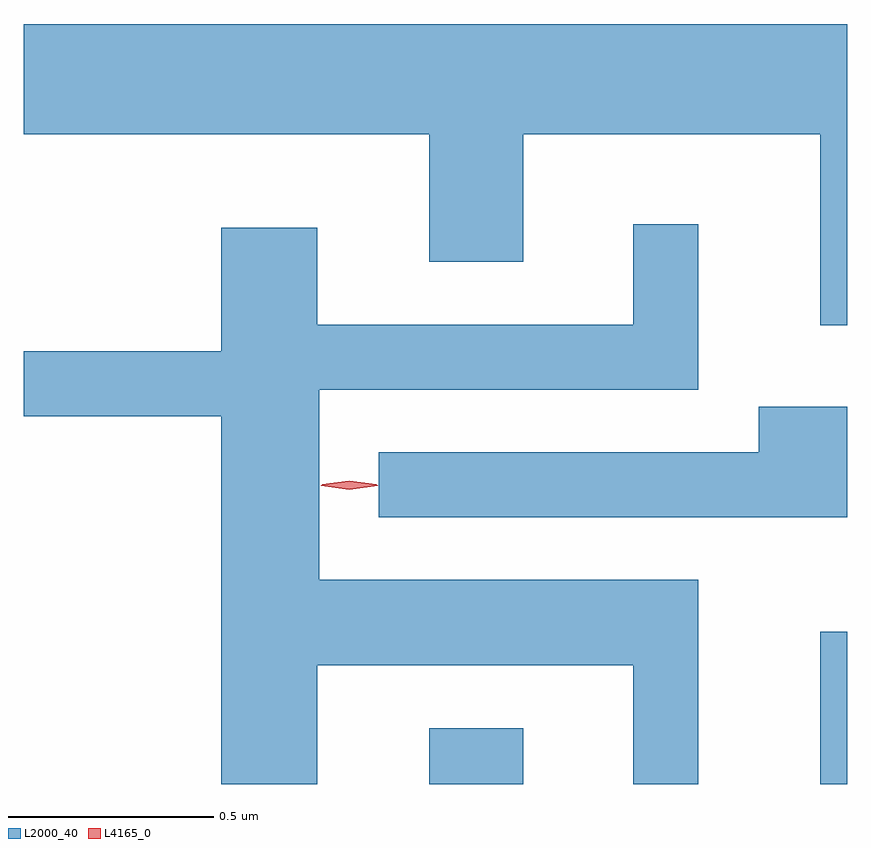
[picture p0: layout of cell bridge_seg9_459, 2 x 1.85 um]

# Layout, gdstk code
import gdstk
lib = gdstk.Library(unit=1e-6, precision=1e-09)
def R(c, l, rs):  # rectangles x0, y0, x1, y1
    for r in rs: c.add(gdstk.rectangle(r[:2], r[2:], *l))
def P(c, l, *ps):  # polygons
    for p in ps: c.add(gdstk.Polygon(p, *l))
L2000_40 = (2000, 40)
L4165_0 = (4165, 0)

bridge_seg9_459 = lib.new_cell('bridge_seg9_459')
R(bridge_seg9_459, L2000_40, [(350.111,2056.838,350.339,2056.974), (351.061,2056.838,351.126,2057.208)])
P(bridge_seg9_459, L2000_40, [(351.126,2058.684),(349.126,2058.684),(349.126,2058.416),(350.111,2058.416),(350.111,2058.106),(350.339,2058.106),(350.339,2058.416),(351.061,2058.416),(351.061,2057.952),(351.126,2057.952)],
  [(349.839,2057.126),(350.606,2057.126),(350.606,2056.838),(350.764,2056.838),(350.764,2057.334),(349.844,2057.334),(349.844,2057.796),(350.764,2057.796),(350.764,2058.198),(350.606,2058.198),(350.606,2057.954),(349.839,2057.954),(349.839,2058.189),(349.606,2058.189),(349.606,2057.889),(349.126,2057.889),(349.126,2057.731),(349.606,2057.731),(349.606,2056.838),(349.839,2056.838)],
  [(351.126,2057.754),(350.911,2057.754),(350.911,2057.644),(349.988,2057.644),(349.988,2057.486),(351.126,2057.486)])
P(bridge_seg9_459, L4165_0, [(349.917,2057.553),(349.848,2057.563),(349.847,2057.563),(349.848,2057.564),(349.917,2057.573),(349.986,2057.564),(349.986,2057.563),(349.986,2057.563)],
  [(349.917,2057.555),(349.851,2057.564),(349.851,2057.565),(349.851,2057.566),(349.917,2057.575),(349.982,2057.566),(349.983,2057.565),(349.982,2057.564)])

lib.write_gds('bridge_seg9_459.gds')
